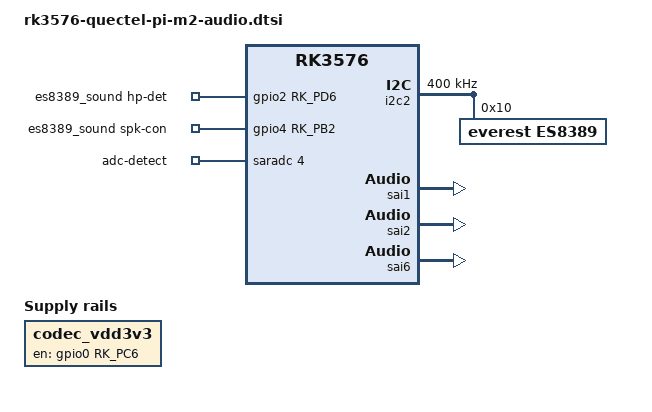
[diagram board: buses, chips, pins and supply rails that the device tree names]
/*
 * Quectel PI M2 audio configuration.
 * M2-specific audio codec and DAI link setup goes here.
 */

/ {
	es8389_sound: es8389-sound {
		status = "okay";
		compatible = "rockchip,multicodecs-card";
		rockchip,card-name = "rockchip-es8389";
		rockchip,mic-source-switch;

		hp-det-gpio = <&gpio2 RK_PD6 GPIO_ACTIVE_HIGH>;
		io-channels = <&saradc 3>;
		io-channel-names = "adc-detect";
		keyup-threshold-microvolt = <1800000>;
		poll-interval = <100>;
		spk-con-gpio = <&gpio4 RK_PB2 GPIO_ACTIVE_HIGH>;
		//hp-con-gpio = <&gpio3 RK_PD6 GPIO_ACTIVE_HIGH>;
		rockchip,pre-power-on-delay-ms = <30>;
		rockchip,post-power-down-delay-ms = <40>;
		rockchip,format = "i2s";
		rockchip,mclk-fs = <256>;
		rockchip,cpu = <&sai1>;
		rockchip,codec = <&es8389>;
		rockchip,audio-routing =
			"Headphone", "HPOL",
			"Headphone", "HPOR",
			"Speaker", "HPOL",
			"Speaker", "HPOR";
		pinctrl-names = "default";
		pinctrl-0 = <&hp_det &speak_pa_en_active>;
		play-pause-key {
			label = "playpause";
			linux,code = <KEY_PLAYPAUSE>;
			press-threshold-microvolt = <2000>;
		};
	};

	pdmics: dummy-codec {
		status = "disabled";
		compatible = "rockchip,dummy-codec";
		#sound-dai-cells = <0>;
	};

	pdm_mic_array: pdm-mic-array {
		status = "disabled";
		compatible = "simple-audio-card";
		simple-audio-card,name = "rockchip,pdm-mic-array";
		simple-audio-card,cpu {
			sound-dai = <&pdm1>;
		};
		simple-audio-card,codec {
			sound-dai = <&pdmics>;
		};
	};

	bt_sco: bt-sco {
		compatible = "delta,dfbmcs320";
		#sound-dai-cells = <0>;
		status = "okay";
	};

	bt_sound: bt-sound {
		compatible = "simple-audio-card";
		simple-audio-card,format = "dsp_b";
		simple-audio-card,bitclock-inversion;
		simple-audio-card,mclk-fs = <256>;
		simple-audio-card,name = "rockchip,bt";
		simple-audio-card,cpu {
			sound-dai = <&sai2>;
		};
		simple-audio-card,codec {
			sound-dai = <&bt_sco>;
		};
	};

	codec_vdd3v3: codec_vdd3v3 {
		compatible = "regulator-fixed";
		regulator-name = "codec_vdd3v3";
        enable-active-high;
        regulator-always-on;
		pinctrl-names = "default";
		pinctrl-0 = <&codec_vdd3v3_active>;
        gpio = <&gpio0 RK_PC6 GPIO_ACTIVE_HIGH>;
        status = "okay";
	};

};

&i2c2 {
	status = "okay";
	clock-frequency = <400000>;
	es8389: es8389@10 {
		status = "okay";
		#sound-dai-cells = <0>;
		compatible = "everest,es8389";
		reg = <0x10>;
		clocks = <&mclkout_sai1>;
		clock-names = "mclk";
		assigned-clocks = <&mclkout_sai1>;
		assigned-clock-rates = <12288000>;
		pinctrl-names = "default";
		pinctrl-0 = <&sai1m0_mclk>;
	};
};

&es8389_sound {
	hp-det-gpio = <&gpio2 RK_PD6 GPIO_ACTIVE_HIGH>;
	io-channels = <&saradc 4>;
	io-channel-names = "adc-detect";
	keyup-threshold-microvolt = <595000>;
	poll-interval = <100>;
    play-pause-key {
            label = "playpause";
            linux,code = <KEY_PLAYPAUSE>;
            press-threshold-microvolt = <33000>;
    };
               
    vol-up-key {
            label = "vol_up";
            linux,code = <KEY_VOLUMEUP>;
            press-threshold-microvolt = <110000>;
    };
     vol-down-key {
             label = "vol_down";
             linux,code = <KEY_VOLUMEDOWN>;
             press-threshold-microvolt = <195000>;
    };	
};

&pinctrl {
	headphone {
		hp_det: hp-det {
			rockchip,pins = <2 RK_PD6 RK_FUNC_GPIO &pcfg_pull_up>;
		};
	};

	codec_vdd3v3 {
        codec_vdd3v3_active: codec_vdd3v3_active {
        rockchip,pins = <0 RK_PC6 RK_FUNC_GPIO &pcfg_pull_up>;
        };
    };
    speak_pa_en {
        speak_pa_en_active: speak_pa_en_active {
        rockchip,pins = <4 RK_PB2 RK_FUNC_GPIO &pcfg_pull_up>;
        };
    };
};

&sai1 {
	status = "okay";
	pinctrl-names = "default";
	rockchip,sai-tx-route = <2 1 0 3>;
	pinctrl-0 = <&sai1m0_lrck
		     &sai1m0_sclk
		     &sai1m0_sdi0
		     &sai1m0_sdo2>;
};

&sai2 {
	status = "okay";
	pinctrl-names = "default";
	pinctrl-0 = <&sai2m0_lrck
		     &sai2m0_sclk
		     &sai2m0_sdi
		     &sai2m0_sdo>;
};

&hdmi_sound {
	status = "disabled";
};

&sai6 {
	status = "okay";
	rockchip,sai-tx-route = <0 1 2 3>;
};
